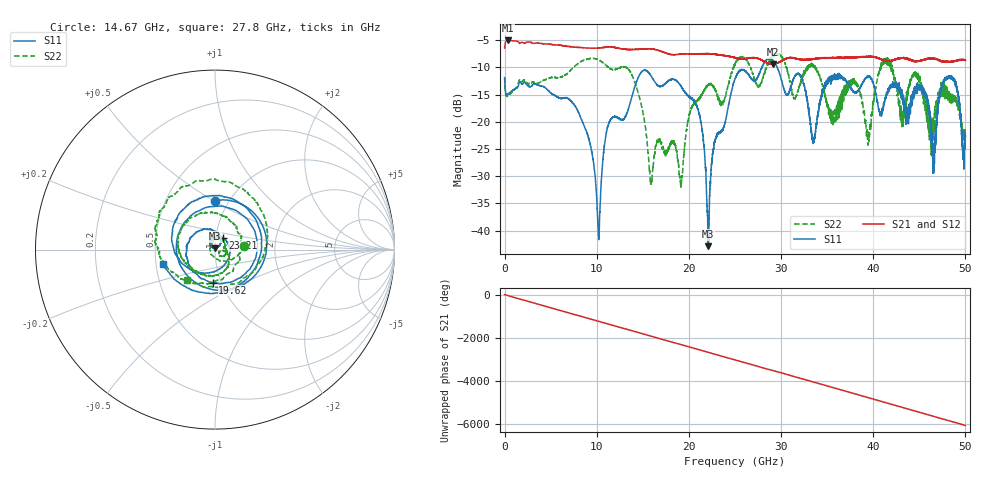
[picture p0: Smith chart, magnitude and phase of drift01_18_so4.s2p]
!Created with skrf (http://scikit-rf.org).
# Hz S RI R 50.0
!freq ReS11 ImS11 ReS21 ImS21 ReS12 ImS12 ReS22 ImS22
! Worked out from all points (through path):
!   10001 points, 300 kHz to 50 GHz, reference 50 ohm
!   highest |S21| = -5.05 dB at 325.3 MHz (marker M1); lowest = -9.4 dB at 29.08 GHz (marker M2)
!   group delay of S21, straight-line fit = 336 ps
!   lowest |S11| = -42.9 dB at 22.09 GHz (marker M3), VSWR 1.01, Z = 49.9 + j0.706 ohm
!   |S11| at or under -10 dB: start of sweep to 27.92 GHz; 29.58 GHz to end of sweep
!   |S22| runs from -32.0 to -7.5 dB; largest |S21 - S12| = 0.011
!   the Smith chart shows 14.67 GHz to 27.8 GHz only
!   S11 on the Smith chart (normalised r, x): 14.67 GHz: 0.86, +0.51; 19.62 GHz: 0.91, -0.35; 23.21 GHz: 1.08, +0.14; 27.8 GHz: 0.54, -0.10
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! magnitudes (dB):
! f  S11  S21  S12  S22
! 300 kHz  -12.0  -6.4  -6.5  -11.7
! 325.3 MHz  -15.0  -5.1  -5.1  -15.3
! 8.335 GHz  -19.6  -6.4  -6.4  -8.9
! 10.2 GHz  -41.4  -6.4  -6.4  -8.6
! 11.24 GHz  -20.6  -6.3  -6.3  -10.0
! 14.67 GHz  -11.3  -6.7  -6.7  -15.8
! 15.87 GHz  -11.5  -6.6  -6.6  -31.2
! 16.67 GHz  -13.4  -6.9  -6.9  -23.2
! 19.62 GHz  -14.7  -7.5  -7.5  -23.2
! 21.23 GHz  -19.5  -7.5  -7.5  -15.6
! 22.09 GHz  -42.9  -7.5  -7.5  -13.2
! 23.21 GHz  -22.2  -7.7  -7.7  -15.7
! 25 GHz  -12.1  -8.2  -8.3  -9.5
! 27.8 GHz  -10.4  -8.6  -8.6  -12.8
! 29.08 GHz  -8.7  -9.4  -9.4  -8.0
! 33.34 GHz  -22.7  -8.5  -8.5  -9.6
! 39.47 GHz  -11.7  -8.0  -8.0  -22.3
! 41.67 GHz  -13.9  -8.7  -8.7  -8.9
! 45.47 GHz  -14.1  -8.6  -8.6  -15.5
! 46.55 GHz  -28.6  -8.4  -8.3  -20.4
! 48.56 GHz  -11.9  -8.9  -8.9  -15.3
! 50 GHz  -22.8  -8.7  -8.7  -22.9
